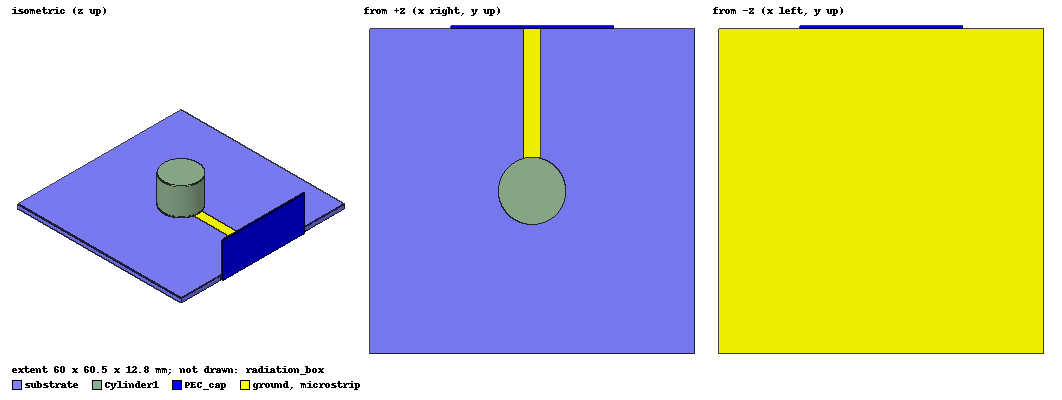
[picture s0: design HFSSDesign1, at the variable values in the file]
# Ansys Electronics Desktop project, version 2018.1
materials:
  vacuum: permittivity=1
  Rogers RT/duroid 5880 (tm): permittivity=2.2 dielectric_loss_tangent=0.0009
  Alumina Ceamic: permittivity=9.9 dielectric_loss_tangent=0.0001
  pec: conductivity=1e+30
  FR4_epoxy: permittivity=4.4 dielectric_loss_tangent=0.02
  Zirconia: permittivity=23 dielectric_loss_tangent=0.0013

design HFSSDesign1 (HFSS, DrivenModal, model units mm)
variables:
  SL = 60mm
  SW = 60mm
  SH = 1.6mm
  MW = 3
  M = 3mm
  L = 34mm  # optimise 18.25mm..54.75mm
  rad = 6.2mm  # optimise 5mm..15mm
  h = 10mm  # optimise 5mm..15mm
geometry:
  substrate [FR4_epoxy] = box(corner=(-SL/2, -SW/2, 0mm), size=(SL, SW, SH))
  ground = rectangle(corner=(-SL/2, -SW/2, 0mm), x_size=SL, y_size=SW)
  coordinate_system RelativeCS1 = origin=(0mm, SW/2, SH) x=(1mm, 0mm, 0mm) y=(0mm, 1mm, 0mm)
  microstrip = rectangle(corner=(-M/2, 0mm, 0mm), x_size=M, y_size=-L) in RelativeCS1
  coordinate_system RelativeCS2 = origin=(0mm, -SW/2, 0mm) x=(1mm, 0mm, 0mm) y=(0mm, 1mm, 0mm) in RelativeCS1
  radiation_box [vacuum] = box(corner=(-60mm, -60mm, -10mm), size=(120mm, 120mm, 50mm)) in RelativeCS2
  port = rectangle(corner=(-5*M, 0mm, -SH), z_size=8*SH, x_size=10*M) in RelativeCS1
  PEC_cap [pec] = box(corner=(-5*M, 0mm, -SH), size=(10*M, 0.5mm, 8*SH)) in RelativeCS1
  Cylinder1 [Zirconia] = cylinder(axis=Z, base_centre=(0mm, -30mm, 0mm), radius=rad, height=h) in RelativeCS1
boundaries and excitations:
  PerfE1: Perfect E Objects=ground
  PerfE2: Perfect E Objects=microstrip
  Rad1: Radiation Objects=radiation_box
  1: Wave Port Objects=port NumModes=1 Modes{Mode1{IntLine{middle of port.edge(4 of 4) -> middle of microstrip.edge(1 of 4)} CharImp=Zpi RenormImp=50ohm}}
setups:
  Setup1: HfssDriven Frequency=5GHz MaxDeltaS=0.02 MaximumPasses=6 MinimumPasses=1 MinimumConvergedPasses=1 PercentRefinement=30 BasisOrder=1 PortAccuracy=2
    sweep Sweep: 5GHz to 6GHz, 451 points; Type=Discrete SaveFields
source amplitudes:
  1:1: 1W 0deg
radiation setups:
  Infinite Sphere1: Infinite Sphere Theta=-180deg..180deg step 2deg Phi=0deg..360deg step 2deg
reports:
  S Parameter Plot 1: dB(S(1,1)) vs Freq on Setup1 : Sweep; markers m1 at 5.7666667GHz, m2 at 5.7666667GHz
  Antenna Params Plot 1: dB(PeakRealizedGain) vs Freq on Setup1 : Sweep
  VSWR Plot 1: dB(VSWR(1)) vs Freq on Setup1 : Sweep
  Antenna Params Plot 2: RadiationEfficiency vs Freq on Setup1 : LastAdaptive
  Antenna Params Plot 3: RadiationEfficiency vs Freq on Setup1 : Sweep
  Antenna Params Plot 4: dB(PeakSystemGain) vs Freq on Setup1 : LastAdaptive
  Antenna Params Plot 5: dB(PeakSystemGain) vs Freq on Setup1 : Sweep
  Directivity Plot 1: dB(DirTotal) vs Phi, Theta on Setup1 : Sweep, Infinite Sphere1 [Freq=5GHz]
  Directivity Plot 2: dB(DirTotal) vs Theta on Setup1 : Sweep, Infinite Sphere1 [Phi=all Freq=5GHz]
  Directivity Plot 3: dB(DirTotal) vs Theta on Setup1 : Sweep, Infinite Sphere1 [Phi=all Freq=5GHz]
  Directivity Plot 4: dB(DirTotal) vs Theta on Setup1 : Sweep, Infinite Sphere1 [Phi=0deg Freq=5.76667GHz]
